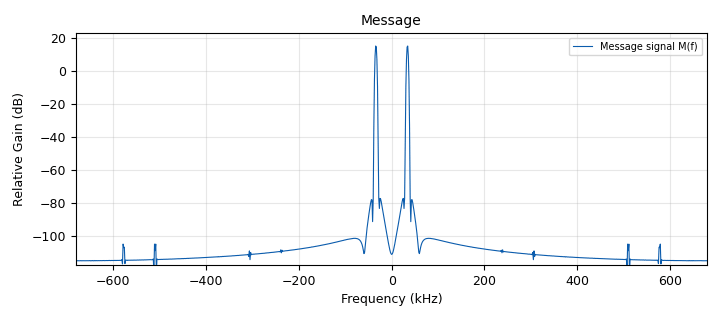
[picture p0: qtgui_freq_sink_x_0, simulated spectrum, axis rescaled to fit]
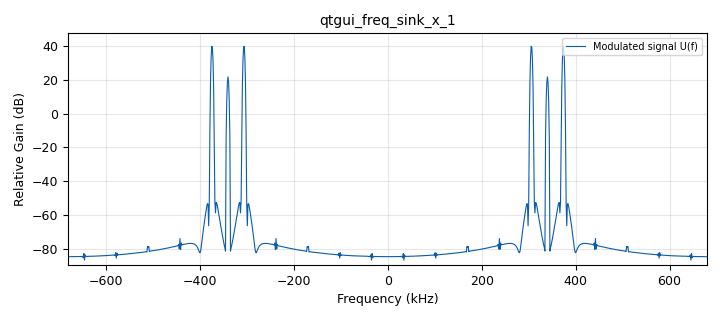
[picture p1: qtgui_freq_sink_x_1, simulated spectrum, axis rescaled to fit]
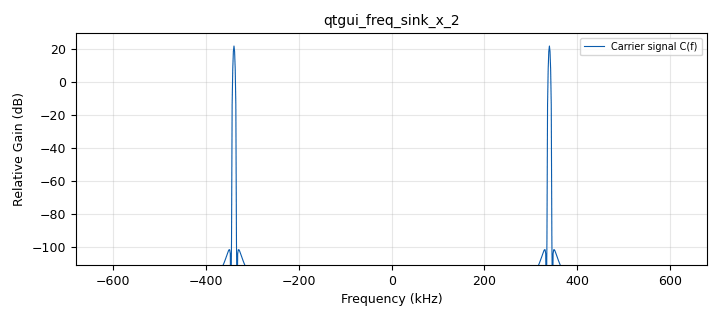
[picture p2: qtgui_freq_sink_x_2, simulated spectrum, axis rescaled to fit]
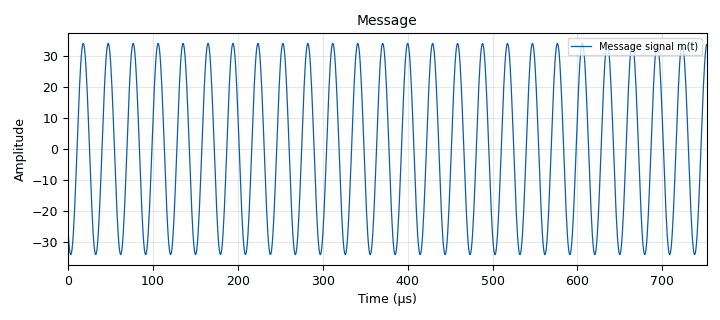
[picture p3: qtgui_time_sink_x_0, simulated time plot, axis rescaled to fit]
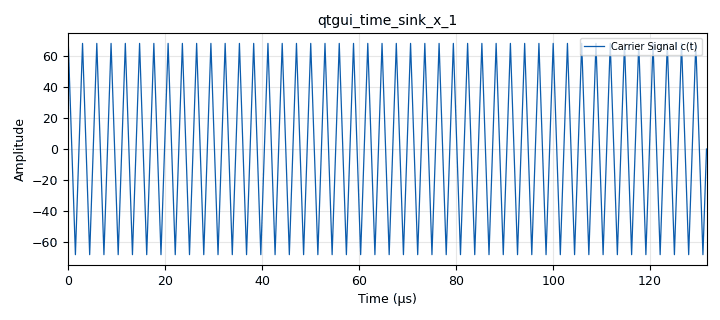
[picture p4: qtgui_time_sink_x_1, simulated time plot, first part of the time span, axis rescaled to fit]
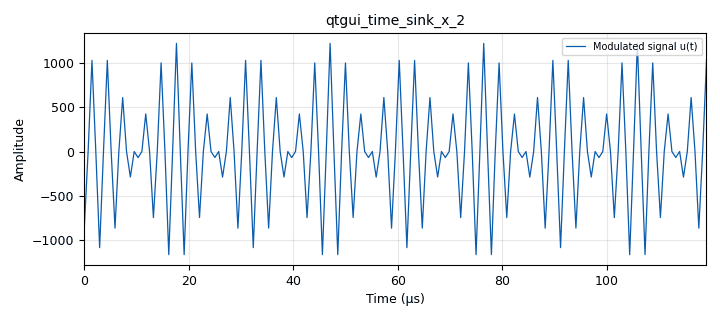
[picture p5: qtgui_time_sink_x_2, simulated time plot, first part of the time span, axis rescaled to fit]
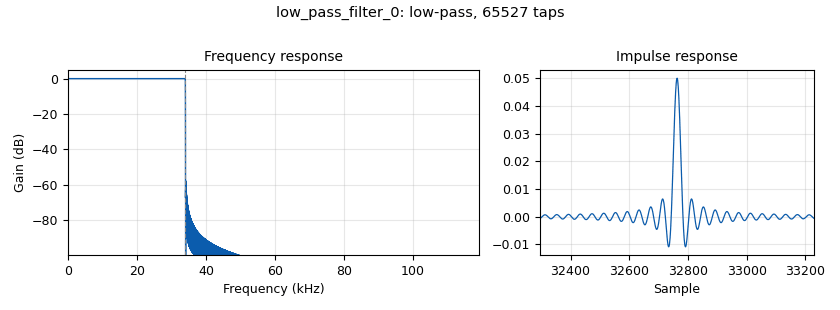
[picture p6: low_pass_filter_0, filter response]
options:
  parameters:
    author: Mangal
    generate_options: qt_gui
    id: undermodulation
    output_language: python
    title: Under amplitude modulation
  states: {}

blocks:
- name: samp_rate
  id: variable
  parameters:
    value: '1360000'
  states: {}
- name: analog_const_source_x_0
  id: analog_const_source_x
  parameters:
    const: '0.5'
    type: float
  states: {}
- name: analog_const_source_x_1
  id: analog_const_source_x
  parameters:
    const: '1'
    type: float
  states: {}
- name: analog_sig_source_x_0
  id: analog_sig_source_x
  parameters:
    amp: '34'
    freq: '34000'
    offset: '0'
    phase: '0'
    samp_rate: samp_rate
    type: float
    waveform: analog.GR_COS_WAVE
  states: {}
- name: analog_sig_source_x_1
  id: analog_sig_source_x
  parameters:
    alias: carrier
    amp: '68'
    freq: '340000'
    offset: '0'
    phase: '0'
    samp_rate: samp_rate
    type: float
    waveform: analog.GR_COS_WAVE
  states: {}
- name: analog_sig_source_x_1_0
  id: analog_sig_source_x
  parameters:
    amp: '68'
    freq: '340000'
    offset: '0'
    phase: '0'
    samp_rate: samp_rate
    type: float
    waveform: analog.GR_COS_WAVE
  states: {}
- name: blocks_add_xx_0
  id: blocks_add_xx
  parameters:
    type: float
  states: {}
- name: blocks_complex_to_real_0
  id: blocks_complex_to_real
  parameters: {}
  states: {}
- name: blocks_float_to_complex_0
  id: blocks_float_to_complex
  parameters: {}
  states: {}
- name: blocks_float_to_complex_1
  id: blocks_float_to_complex
  parameters: {}
  states: {}
- name: blocks_multiply_xx_0
  id: blocks_multiply_xx
  parameters:
    type: float
  states: {}
- name: blocks_multiply_xx_1
  id: blocks_multiply_xx
  parameters:
    type: float
  states: {}
- name: blocks_multiply_xx_2
  id: blocks_multiply_xx
  parameters:
    type: float
  states: {}
- name: iio_pluto_sink_0
  id: iio_pluto_sink
  parameters:
    attenuation1: '10.0'
    bandwidth: '1000000'
    buffer_size: '32768'
    cyclic: 'True'
    filter_source: '''Auto'''
    frequency: '1000000000'
    samplerate: samp_rate
    type: fc32
    uri: 192.168.2.1
  states: {}
- name: iio_pluto_source_0
  id: iio_pluto_source
  parameters:
    bandwidth: '1000000'
    bbdc: 'False'
    buffer_size: '32768'
    filter_source: '''Auto'''
    frequency: '1000000000'
    fstop: '34000'
    gain1: '''manual'''
    manual_gain1: '10'
    quadrature: 'True'
    rfdc: 'False'
    samplerate: samp_rate
    type: fc32
    uri: 192.168.2.1
  states: {}
- name: low_pass_filter_0
  id: low_pass_filter
  parameters:
    cutoff_freq: '34000'
    gain: '1'
    interp: '1'
    samp_rate: samp_rate
    type: interp_fir_filter_fff
    width: '50'
    win: window.WIN_HAMMING
  states: {}
- name: qtgui_freq_sink_x_0
  id: qtgui_freq_sink_x
  parameters:
    bw: samp_rate
    ctrlpanel: 'True'
    fc: '0'
    fftsize: '1024'
    label1: Message signal M(f)
    name: '"Message"'
    type: float
  states: {}
- name: qtgui_freq_sink_x_1
  id: qtgui_freq_sink_x
  parameters:
    bw: samp_rate
    ctrlpanel: 'True'
    fc: '0'
    fftsize: '1024'
    label1: Modulated signal U(f)
    type: float
  states: {}
- name: qtgui_freq_sink_x_2
  id: qtgui_freq_sink_x
  parameters:
    bw: samp_rate
    ctrlpanel: 'True'
    fc: '0'
    fftsize: '1024'
    label1: Carrier signal C(f)
    type: float
  states: {}
- name: qtgui_sink_x_0
  id: qtgui_sink_x
  parameters:
    bw: samp_rate
    fc: '0'
    fftsize: '1024'
    type: complex
  states: {}
- name: qtgui_time_sink_x_0
  id: qtgui_time_sink_x
  parameters:
    ctrlpanel: 'True'
    label1: Message signal m(t)
    name: '"Message "'
    size: '1024'
    srate: samp_rate
    type: float
  states: {}
- name: qtgui_time_sink_x_1
  id: qtgui_time_sink_x
  parameters:
    ctrlpanel: 'True'
    label1: Carrier Signal c(t)
    size: '1024'
    srate: samp_rate
    type: float
  states: {}
- name: qtgui_time_sink_x_2
  id: qtgui_time_sink_x
  parameters:
    ctrlpanel: 'True'
    label1: Modulated signal u(t)
    size: '1024'
    srate: samp_rate
    type: float
  states: {}

connections:
- [analog_const_source_x_0, '0', blocks_multiply_xx_0, '0']
- [analog_const_source_x_1, '0', blocks_add_xx_0, '0']
- [analog_sig_source_x_0, '0', blocks_multiply_xx_0, '1']
- [analog_sig_source_x_0, '0', qtgui_freq_sink_x_0, '0']
- [analog_sig_source_x_0, '0', qtgui_time_sink_x_0, '0']
- [analog_sig_source_x_1, '0', blocks_multiply_xx_1, '1']
- [analog_sig_source_x_1, '0', qtgui_freq_sink_x_2, '0']
- [analog_sig_source_x_1, '0', qtgui_time_sink_x_1, '0']
- [analog_sig_source_x_1_0, '0', blocks_multiply_xx_2, '1']
- [blocks_add_xx_0, '0', blocks_multiply_xx_1, '0']
- [blocks_complex_to_real_0, '0', blocks_multiply_xx_2, '0']
- [blocks_float_to_complex_0, '0', qtgui_sink_x_0, '0']
- [blocks_float_to_complex_1, '0', iio_pluto_sink_0, '0']
- [blocks_multiply_xx_0, '0', blocks_add_xx_0, '1']
- [blocks_multiply_xx_1, '0', blocks_float_to_complex_1, '0']
- [blocks_multiply_xx_1, '0', qtgui_freq_sink_x_1, '0']
- [blocks_multiply_xx_1, '0', qtgui_time_sink_x_2, '0']
- [blocks_multiply_xx_2, '0', low_pass_filter_0, '0']
- [iio_pluto_source_0, '0', blocks_complex_to_real_0, '0']
- [low_pass_filter_0, '0', blocks_float_to_complex_0, '0']

metadata:
  file_format: 1
  grc_version: 3.10.9.2
